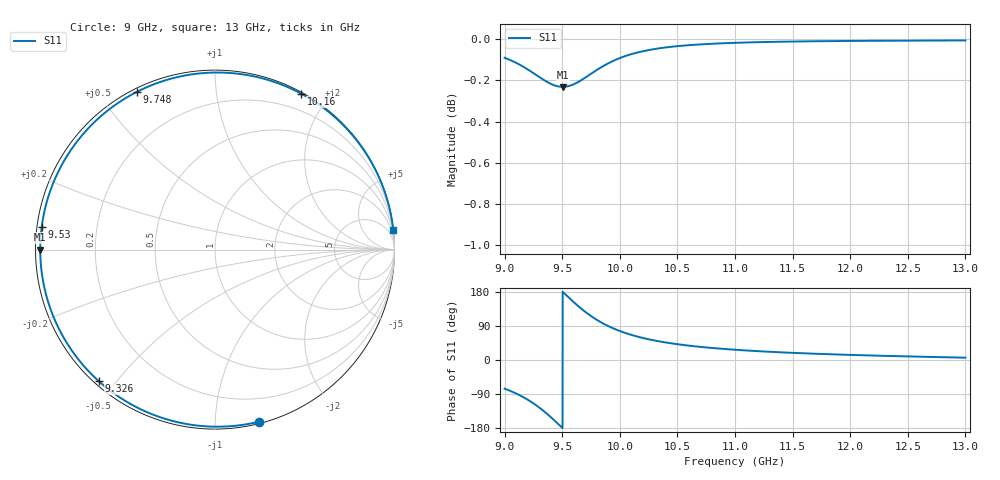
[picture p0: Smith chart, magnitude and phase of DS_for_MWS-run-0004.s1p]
! TOUCHSTONE file generated by CST DESIGN STUDIO
! Date and time: Tue Feb  4 12:29:41 2025
! Project name: C:\Work\MatlabApps\UnitCellOptimizationMatlab\CST\unitcell.cst
! Tree item: Tasks\Sweep1\SPara1\S-Parameters
! Header version: 2024
! Port assignment regex: !\s*Touchstone port\s*([0-9]+)\s*=\s*(CST MWS port|CST DES external port|CST DES block port)\s*(.+)\s* \(\"(.*)\"\)(\s*mode\s*([0-9]+))?.*
! Touchstone port assignment:
! Touchstone port 1 = CST DES external port 1 ("")
# GHz S MA R 50
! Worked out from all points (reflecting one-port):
!   4001 points, 9 GHz to 13 GHz, reference 50 ohm
!   lowest |S11| = -0.2 dB at 9.504 GHz (marker M1), VSWR 75.21, Z = 0.665 + j0.00585 ohm
!   phase of S11 starts at -76 deg and turns -278 deg over the sweep
!   S11 on the Smith chart (normalised r, x): 9 GHz: 0.01, -1.29; 9.326 GHz: 0.01, -0.45; 9.53 GHz: 0.01, +0.07; 9.748 GHz: 0.01, +0.62; 10.16 GHz: 0.01, +1.70; 13 GHz: 0, +19
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9  0.9897 -75.6
9.086  0.9874 -86.4
9.188  0.9838 -102.5
9.26  0.9809 -116.5
9.326  0.9781 -131.4
9.372  0.9763 -143.0
9.421  0.9748 -156.3
9.461  0.9741 -167.6
9.5  0.9738 -178.9
9.504  0.9738 180.0
9.53  0.9739 172.4
9.584  0.9748 157.1
9.644  0.9766 140.9
9.695  0.9786 128.3
9.748  0.9808 116.4
9.8  0.983 106.1
9.857  0.9852 96.1
9.928  0.9876 85.5
10  0.9896 76.5
10.162  0.9928 61.0
10.316  0.9947 50.6
10.5  0.9962 41.7
10.722  0.9973 33.9
11  0.9981 27.0
11.5  0.9988 18.9
12  0.9991 13.5
12.5  0.9993 9.4
13  0.9994 6.2
